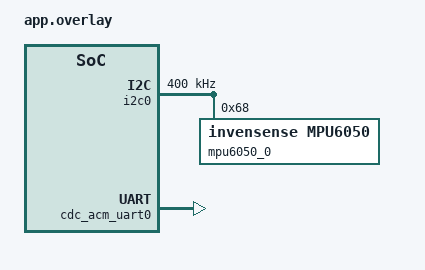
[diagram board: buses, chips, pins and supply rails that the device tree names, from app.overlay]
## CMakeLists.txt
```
cmake_minimum_required(VERSION 3.20.0)

set(BOARD rpi_pico2/rp2350a/m33)
set(BOARD_FLASH_RUNNER uf2)
list(APPEND ZEPHYR_EXTRA_MODULES ${CMAKE_CURRENT_SOURCE_DIR}/../..)

find_package(Zephyr REQUIRED HINTS $ENV{ZEPHYR_BASE})
project(mpu6050_repl)

target_sources(app PRIVATE src/main.c)
```

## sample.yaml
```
sample:
  name: MPU6050 REPL
common:
  tags: drivers
  platform_allow:
    - rpi_pico2/rp2350a/m33
  build_only: true
tests:
  sample.mpu6050.repl: {}
```

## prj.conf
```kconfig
CONFIG_SHELL=y
CONFIG_SERIAL=y
CONFIG_CONSOLE=y
CONFIG_UART_CONSOLE=y
CONFIG_SHELL_BACKEND_SERIAL=y
CONFIG_UART_LINE_CTRL=y
CONFIG_LOG=y
CONFIG_CBPRINTF_FP_SUPPORT=y
CONFIG_SHELL_STACK_SIZE=4096

CONFIG_USB_DEVICE_STACK_NEXT=y
CONFIG_CDC_ACM_SERIAL_INITIALIZE_AT_BOOT=y
CONFIG_USBD_CDC_ACM_LOG_LEVEL_OFF=y
CONFIG_USBD_LOG_LEVEL_OFF=y

CONFIG_PEROVSAT_MPU6050=y
CONFIG_PEROVSAT_MPU6050_BACKEND_HARDWARE=y
```

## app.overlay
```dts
/ {
	aliases {
		mpu6050 = &mpu6050_0;
	};

	chosen {
		zephyr,console = &cdc_acm_uart0;
		zephyr,shell-uart = &cdc_acm_uart0;
	};

};

&i2c0{
	status = "okay";
	clock-frequency = <400000>;

	mpu6050_0: mpu6050@68 {
		compatible = "invensense,mpu6050";
		reg = <0x68>;
		status = "okay";
	};
};

&zephyr_udc0 {
	cdc_acm_uart0: cdc_acm_uart0 {
		compatible = "zephyr,cdc-acm-uart";
	};
};
```

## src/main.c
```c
#include <zephyr/device.h>
#include <zephyr/shell/shell.h>

#include <mpu6050.h>

static mpu6050_t *sh_dev(const struct shell *sh)
{
	const struct device *zdev = DEVICE_DT_GET(DT_ALIAS(mpu6050));

	if (!device_is_ready(zdev)) {
		shell_error(sh, "device not ready");
		return NULL;
	}

	return mpu6050_from_dev(zdev);
}

static int cmd_fetch(const struct shell *sh, size_t argc, char **argv)
{
	mpu6050_t *dev = sh_dev(sh);
	float accel_scale;
	float gyro_scale;
	float temp_c;
	int ret;
	psp_imu_reading reading = {0};

	ARG_UNUSED(argc);
	ARG_UNUSED(argv);

	if (dev == NULL) {
		return -ENODEV;
	}

	ret = mpu6050_sample_fetch(dev, &reading);
	if (ret < 0) {
		shell_error(sh, "error %d", ret);
		return ret;
	}

	if (dev->device_type == MPU6050_DEVICE_TYPE_MPU6500) {
		temp_c = (float)dev->temp / 333.87f + 21.0f;
	} else {
		temp_c = (float)dev->temp / 340.0f + 36.53f;
	}

	shell_print(sh, "accel [m/s^2] %.3f %.3f %.3f", reading.accel[0].whole,
		    reading.accel[0].micro,                          // X
		    reading.accel[1].whole, reading.accel[1].micro,  // Y
		    reading.accel[2].whole, reading.accel[2].micro); // Z
	shell_print(sh, "gyro [deg/s] %.1f %.1f %.1f", reading.gyro[0].whole,
		    reading.gyro[0].micro,                         // X
		    reading.gyro[1].whole, reading.gyro[1].micro,  // Y
		    reading.gyro[2].whole, reading.gyro[2].micro); // Z
	return 0;
}

SHELL_STATIC_SUBCMD_SET_CREATE(mpu6050_cmds, SHELL_CMD(fetch, NULL, "Fetch one sample", cmd_fetch),
			       SHELL_SUBCMD_SET_END);

SHELL_CMD_REGISTER(mpu6050, &mpu6050_cmds, "MPU6050 driver", NULL);

int main(void)
{
	return 0;
}
```
